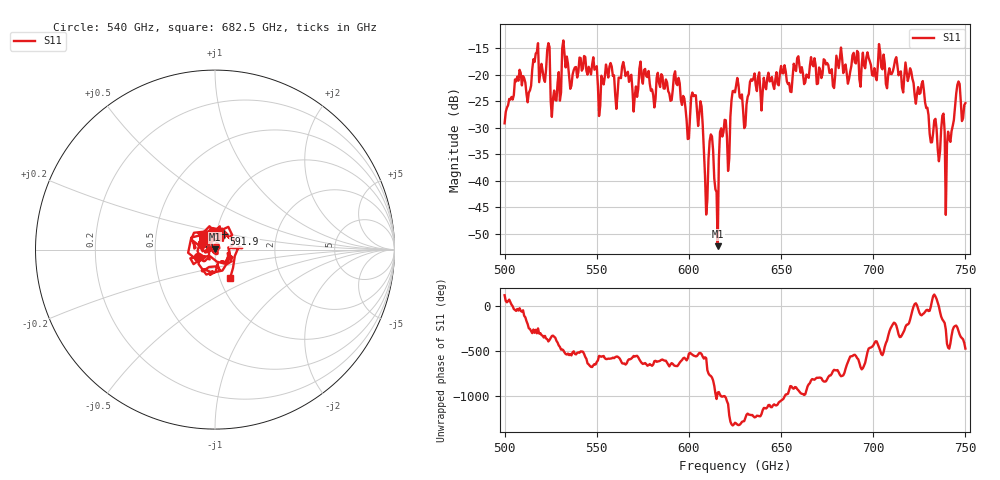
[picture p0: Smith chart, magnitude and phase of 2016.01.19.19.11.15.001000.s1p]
!Created with skrf (http://scikit-rf.org).
# GHz S RI R 50.0
!freq ReS11 ImS11
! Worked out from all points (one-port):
!   401 points, 500 GHz to 750 GHz, reference 50 ohm
!   lowest |S11| = -52.3 dB at 615.6 GHz (marker M1), VSWR 1.00, Z = 49.9 + j0.216 ohm
!   |S11| at or under -10 dB: start of sweep to end of sweep
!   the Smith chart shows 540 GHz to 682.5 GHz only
!   S11 on the Smith chart (normalised r, x): 540 GHz: 0.82, -0.07; 591.9 GHz: 1.09, +0.19; 682.5 GHz: 1.12, -0.37
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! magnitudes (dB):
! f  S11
! 500 GHz  -29.1
! 513.1 GHz  -23.3
! 516.9 GHz  -16.0
! 523.1 GHz  -15.3
! 526.2 GHz  -24.5
! 531.2 GHz  -15.0
! 540 GHz  -19.5
! 562.5 GHz  -20.5
! 591.9 GHz  -20.1
! 593.8 GHz  -21.9
! 599.4 GHz  -32.1
! 603.1 GHz  -23.9
! 606.9 GHz  -26.0
! 609.4 GHz  -46.4
! 611.9 GHz  -31.2
! 615.6 GHz  -52.3
! 618.1 GHz  -31.6
! 621.2 GHz  -38.1
! 625 GHz  -23.3
! 630.6 GHz  -29.6
! 634.4 GHz  -21.1
! 656.2 GHz  -20.4
! 682.5 GHz  -14.8
! 687.5 GHz  -19.4
! 718.8 GHz  -21.2
! 740.6 GHz  -30.7
! 745.6 GHz  -21.9
! 750 GHz  -25.3
